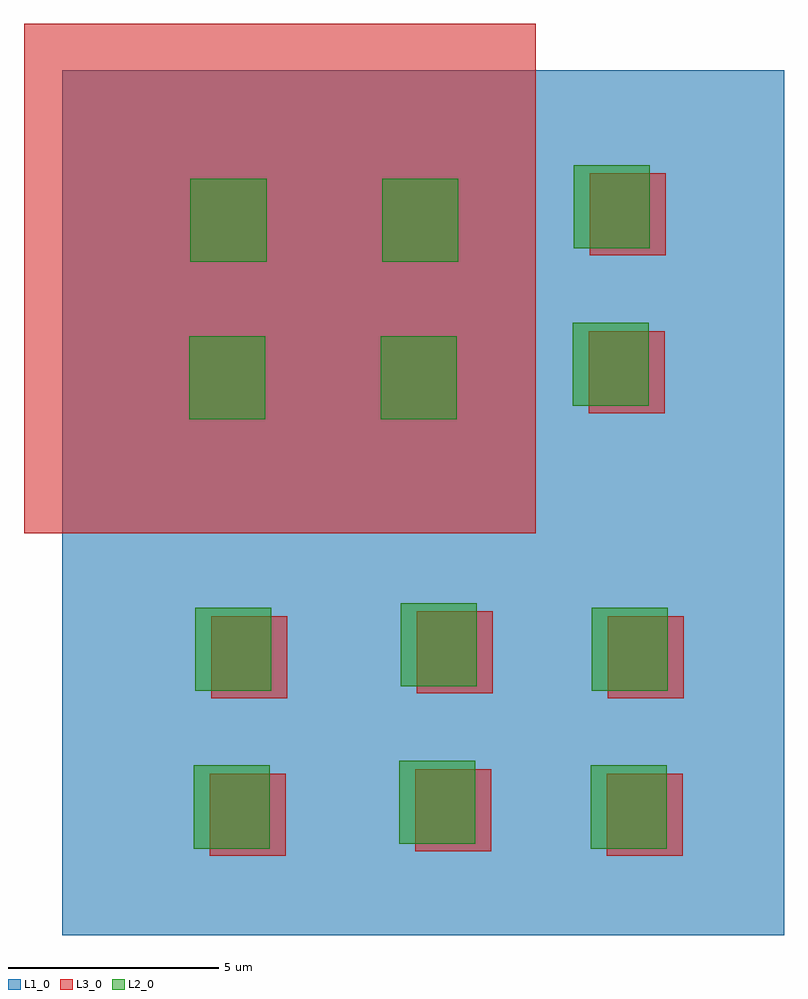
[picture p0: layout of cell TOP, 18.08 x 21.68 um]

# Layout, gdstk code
from math import pi, radians
import gdstk
lib = gdstk.Library(unit=1e-6, precision=1e-09)
def R(c, l, rs):  # rectangles x0, y0, x1, y1
    for r in rs: c.add(gdstk.rectangle(r[:2], r[2:], *l))
L1_0 = (1, 0)
L2_0 = (2, 0)
L3_0 = (3, 0)

c_c = lib.new_cell('C')
R(c_c, L1_0, [(-0.98,-0.76,0.95,1.02)])
R(c_c, L2_0, [(-0.87,-0.98,1.11,0.83)])
R(c_c, L3_0, [(-0.67,-0.6,1.28,1.21)])

c_b = lib.new_cell('B')
r = gdstk.Reference(c_c, (1.74,1.62), rotation=pi/2); r.repetition = gdstk.Repetition(1, 1, v1=(0,0), v2=(0,0)); c_b.add(r)
r = gdstk.Reference(c_c, (1.77,5.37), rotation=pi/2); r.repetition = gdstk.Repetition(1, 1, v1=(0,0), v2=(0,0)); c_b.add(r)

c_a = lib.new_cell('A')
R(c_a, L1_0, [(-0.7,-0.91,19.88,16.26)])
R(c_a, L3_0, [(8.86,4.99,20.98,17.17)])
r = gdstk.Reference(c_b, (7.84,0.94), rotation=pi/2); r.repetition = gdstk.Repetition(1, 1, v1=(0,0), v2=(0,0)); c_a.add(r)
r = gdstk.Reference(c_b, (7.95,5.49), rotation=pi/2); r.repetition = gdstk.Repetition(1, 1, v1=(0,0), v2=(0,0)); c_a.add(r)
r = gdstk.Reference(c_b, (7.84,10.38), rotation=pi/2); r.repetition = gdstk.Repetition(1, 1, v1=(0,0), v2=(0,0)); c_a.add(r)
r = gdstk.Reference(c_b, (18.37,1.37), rotation=pi/2); r.repetition = gdstk.Repetition(1, 1, v1=(0,0), v2=(0,0)); c_a.add(r)
r = gdstk.Reference(c_b, (18.05,5.93), rotation=pi/2); r.repetition = gdstk.Repetition(1, 1, v1=(0,0), v2=(0,0)); c_a.add(r)
r = gdstk.Reference(c_b, (18.05,10.49), rotation=pi/2); r.repetition = gdstk.Repetition(1, 1, v1=(0,0), v2=(0,0)); c_a.add(r)

top = lib.new_cell('TOP')
r = gdstk.Reference(c_a, (14.93,-0.17), rotation=pi/2); r.repetition = gdstk.Repetition(1, 1, v1=(0,0), v2=(0,0)); top.add(r)

lib.write_gds('TOP.gds')
